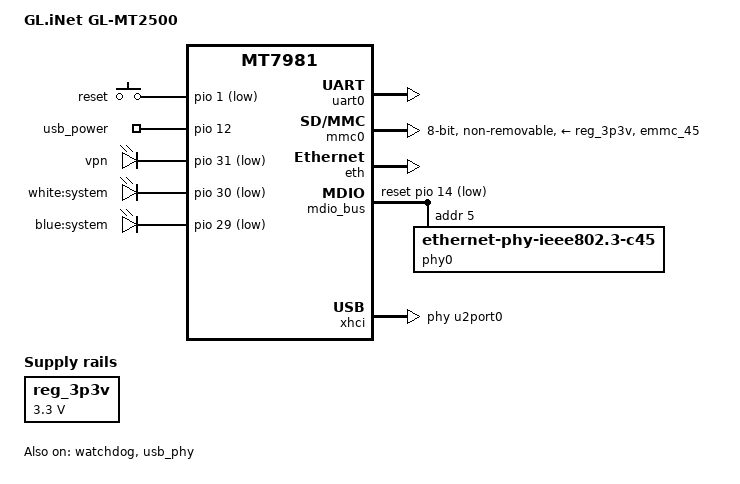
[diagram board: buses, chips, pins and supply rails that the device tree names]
/dts-v1/;
#include "mt7981.dtsi"
/ {
	model = "GL.iNet GL-MT2500";
	compatible = "glinet,gl-mt2500", "mediatek,mt7981";

	chosen {
		stdout-path = "serial0:115200n8";
		bootargs-append = " root=PARTLABEL=rootfs rootwait";
	};

	aliases {
		led-boot = &led_blue;
		led-failsafe = &led_blue;
		led-running = &led_white;
		led-upgrade = &led_blue;
		serial0 = &uart0;
	};

	reg_3p3v: regulator-3p3v {
		compatible = "regulator-fixed";
		regulator-name = "fixed-3.3V";
		regulator-min-microvolt = <3300000>;
		regulator-max-microvolt = <3300000>;
		regulator-boot-on;
		regulator-always-on;
	};

	gpio-keys {
		compatible = "gpio-keys";

		reset {
			label = "reset";
			linux,code = <KEY_RESTART>;
			gpios = <&pio 1 GPIO_ACTIVE_LOW>;
		};
	};

	gpio-export {
		compatible = "gpio-export";

		usb_power {
			gpio-export,name = "usb_power";
			gpio-export,output = <1>;
			gpios = <&pio 12 GPIO_ACTIVE_HIGH>;
		};
	};

	leds {
		compatible = "gpio-leds";

		led@0 {
			label = "vpn";
			gpios = <&pio 31 GPIO_ACTIVE_LOW>;
		};

		led_white: led@1 {
			label = "white:system";
			gpios = <&pio 30 GPIO_ACTIVE_LOW>;
		};

		led_blue: led@2 {
			label = "blue:system";
			gpios = <&pio 29 GPIO_ACTIVE_LOW>;
			default-state = "on";
		};
	};
};

&uart0 {
	status = "okay";
};

&watchdog {
	status = "okay";
};

&mmc0 {
	pinctrl-names = "default", "state_uhs";
	pinctrl-0 = <&mmc0_pins_default>;
	pinctrl-1 = <&mmc0_pins_uhs>;
	bus-width = <8>;
	max-frequency = <52000000>;
	cap-mmc-highspeed;
	vmmc-supply = <&reg_3p3v>;
	non-removable;
	status = "okay";
	#address-cells = <1>;
	#size-cells = <0>;
};

&eth {
	pinctrl-names = "default";
	pinctrl-0 = <&mdio_pins>;

	status = "okay";

	gmac0: mac@0 {
		compatible = "mediatek,eth-mac";
		reg = <0>;
		phy-mode = "2500base-x";
		phy-handle = <&phy0>;
	};

	gmac1: mac@1 {
		compatible = "mediatek,eth-mac";
		reg = <1>;
		phy-mode = "gmii";
		phy-handle = <&int_gbe_phy>;
	};
};

&mdio_bus {
	reset-gpios = <&pio 14 GPIO_ACTIVE_LOW>;
	reset-delay-us = <600>;
	reset-post-delay-us = <20000>;

	phy0: ethernet-phy@5 {
		reg = <5>;
		compatible = "ethernet-phy-ieee802.3-c45";
		phy-mode = "2500base-x";
	};
};

&pio {
	mmc0_pins_default: mmc0-pins-default {
		mux {
			function = "flash";
			groups = "emmc_45";
		};
	};
	mmc0_pins_uhs: mmc0-pins-uhs {
		mux {
			function = "flash";
			groups = "emmc_45";
		};
	};
};

&usb_phy {
	status = "okay";
};

&xhci {
	mediatek,u3p-dis-msk = <0x0>;
	phys = <&u2port0 PHY_TYPE_USB2>,
	       <&u3port0 PHY_TYPE_USB3>;
	status = "okay";
};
